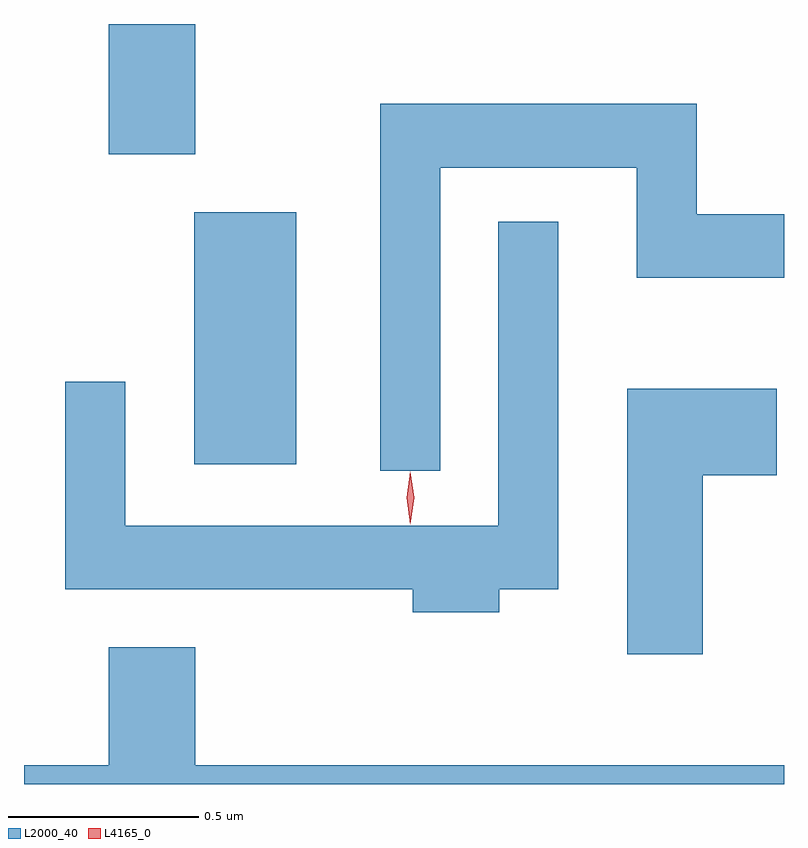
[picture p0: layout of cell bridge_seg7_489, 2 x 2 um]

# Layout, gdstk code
import gdstk
lib = gdstk.Library(unit=1e-6, precision=1e-09)
def R(c, l, rs):  # rectangles x0, y0, x1, y1
    for r in rs: c.add(gdstk.rectangle(r[:2], r[2:], *l))
def P(c, l, *ps):  # polygons
    for p in ps: c.add(gdstk.Polygon(p, *l))
L2000_40 = (2000, 40)
L4165_0 = (4165, 0)

bridge_seg7_489 = lib.new_cell('bridge_seg7_489')
R(bridge_seg7_489, L2000_40, [(1154.696,1695.396,1154.964,1696.059), (1154.471,1696.211,1154.699,1696.554)])
P(bridge_seg7_489, L2000_40, [(1155.344,1696.176),(1155.861,1696.176),(1155.861,1695.886),(1156.248,1695.886),(1156.248,1696.054),(1156.019,1696.054),(1156.019,1696.344),(1155.186,1696.344),(1155.186,1695.378),(1155.344,1695.378)],
  [(1155.499,1695.066),(1155.654,1695.066),(1155.654,1696.033),(1155.496,1696.033),(1155.496,1695.234),(1154.514,1695.234),(1154.514,1695.613),(1154.356,1695.613),(1154.356,1695.066),(1155.271,1695.066),(1155.271,1695.006),(1155.499,1695.006)],
  [(1156.034,1695.366),(1156.229,1695.366),(1156.229,1695.594),(1155.836,1695.594),(1155.836,1694.896),(1156.034,1694.896)],
  [(1156.248,1694.604),(1154.699,1694.604),(1154.699,1694.914),(1154.471,1694.914),(1154.471,1694.604),(1154.248,1694.604),(1154.248,1694.554),(1156.248,1694.554)])
P(bridge_seg7_489, L4165_0, [(1155.264,1695.237),(1155.255,1695.307),(1155.264,1695.376),(1155.265,1695.376),(1155.265,1695.376),(1155.275,1695.307),(1155.265,1695.237),(1155.265,1695.237)])

lib.write_gds('bridge_seg7_489.gds')
